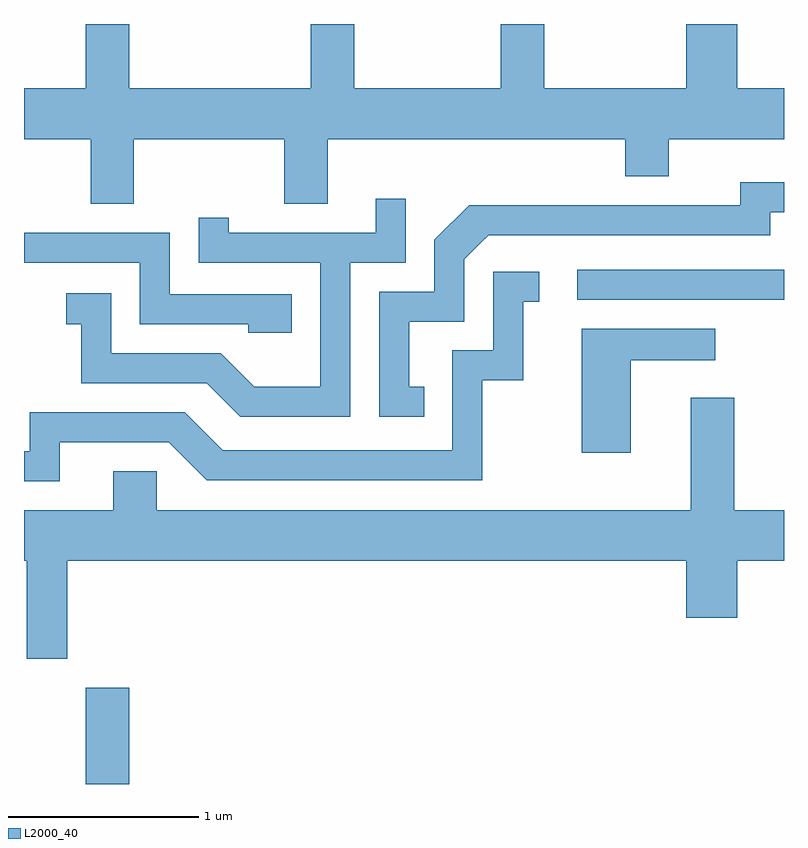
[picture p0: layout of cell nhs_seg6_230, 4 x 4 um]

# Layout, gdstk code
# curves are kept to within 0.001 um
import gdstk
lib = gdstk.Library(unit=1e-6, precision=1e-09)
def R(c, l, rs):  # rectangles x0, y0, x1, y1
    for r in rs: c.add(gdstk.rectangle(r[:2], r[2:], *l))
def P(c, l, *ps):  # polygons
    for p in ps: c.add(gdstk.Polygon(p, *l))
L2000_40 = (2000, 40)

nhs_seg6_230 = lib.new_cell('nhs_seg6_230')
R(nhs_seg6_230, L2000_40, [(191.936,1582.162,192.164,1582.669), (194.523,1584.711,195.611,1584.869)])
P(nhs_seg6_230, L2000_40, [(192.189,1585.556),(192.981,1585.556),(192.981,1585.216),(193.209,1585.216),(193.209,1585.556),(194.776,1585.556),(194.776,1585.361),(195.004,1585.361),(195.004,1585.556),(195.611,1585.556),(195.611,1585.824),(195.364,1585.824),(195.364,1586.162),(195.096,1586.162),(195.096,1585.824),(194.349,1585.824),(194.349,1586.162),(194.121,1586.162),(194.121,1585.824),(193.349,1585.824),(193.349,1586.162),(193.121,1586.162),(193.121,1585.824),(192.164,1585.824),(192.164,1586.162),(191.936,1586.162),(191.936,1585.824),(191.611,1585.824),(191.611,1585.556),(191.961,1585.556),(191.961,1585.216),(192.189,1585.216)],
  [(193.718,1584.254),(193.639,1584.254),(193.639,1584.596),(193.929,1584.596),(193.929,1584.924),(194.057,1585.051),(195.539,1585.051),(195.539,1585.171),(195.611,1585.171),(195.611,1585.329),(195.381,1585.329),(195.381,1585.209),(193.954,1585.209),(193.771,1585.027),(193.771,1584.754),(193.481,1584.754),(193.481,1584.096),(193.718,1584.096)],
  [(193.329,1584.906),(193.619,1584.906),(193.619,1585.243),(193.461,1585.243),(193.461,1585.064),(192.689,1585.064),(192.689,1585.143),(192.531,1585.143),(192.531,1584.906),(193.171,1584.906),(193.171,1584.254),(192.822,1584.254),(192.647,1584.429),(192.069,1584.429),(192.069,1584.744),(191.833,1584.744),(191.833,1584.581),(191.911,1584.581),(191.911,1584.271),(192.574,1584.271),(192.749,1584.096),(193.329,1584.096)],
  [(193.019,1584.739),(192.379,1584.739),(192.379,1585.064),(191.611,1585.064),(191.611,1584.906),(192.221,1584.906),(192.221,1584.581),(192.791,1584.581),(192.791,1584.536),(193.019,1584.536)],
  [(191.799,1583.961),(192.374,1583.961),(192.574,1583.761),(194.024,1583.761),(194.024,1584.286),(194.239,1584.286),(194.239,1584.701),(194.323,1584.701),(194.323,1584.859),(194.081,1584.859),(194.081,1584.444),(193.866,1584.444),(193.866,1583.919),(192.657,1583.919),(192.457,1584.119),(191.641,1584.119),(191.641,1583.914),(191.611,1583.914),(191.611,1583.756),(191.799,1583.756)],
  [(194.804,1584.391),(195.248,1584.391),(195.248,1584.559),(194.546,1584.559),(194.546,1583.906),(194.804,1583.906)],
  [(191.839,1583.336),(195.096,1583.336),(195.096,1583.036),(195.364,1583.036),(195.364,1583.336),(195.611,1583.336),(195.611,1583.604),(195.349,1583.604),(195.349,1584.194),(195.121,1584.194),(195.121,1583.604),(192.309,1583.604),(192.309,1583.809),(192.081,1583.809),(192.081,1583.604),(191.611,1583.604),(191.611,1583.336),(191.626,1583.336),(191.626,1582.821),(191.839,1582.821)])

lib.write_gds('nhs_seg6_230.gds')
